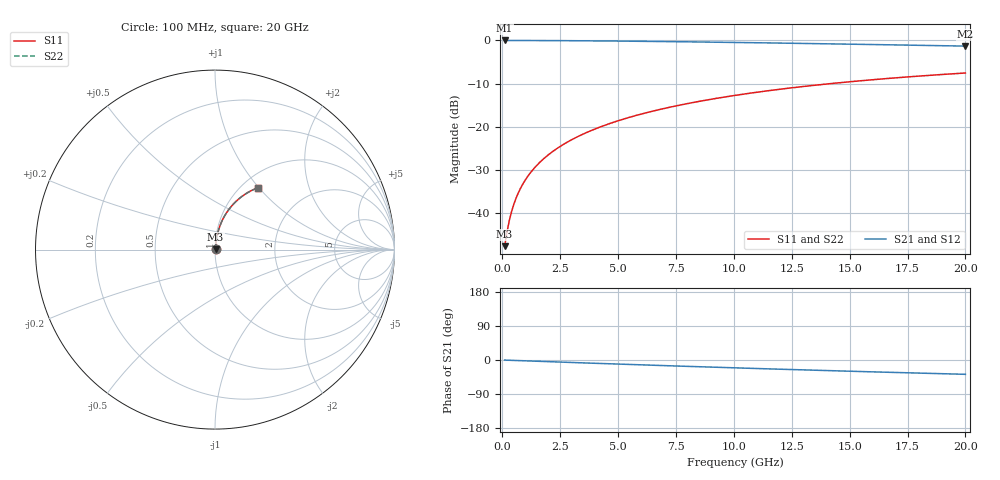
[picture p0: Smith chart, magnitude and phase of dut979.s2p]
! Touchstone file exported from HFSS 2024.1.0
!  File:  C:/UserFiles/LocalFiles/RDL_TSV_Batchsim/temp_RDL_bottom_979_1779943422.aedt
!  Generated:  12:46:18 PM May 28, 2026
!  Design:  RDL_bottom
!  Project:  temp_RDL_bottom_979_1779943422
!  Setup:  Setup1
!  Solution:  Sweep
! Variables:
!  dtsv = 10.80580581um
!  hbump = 3um
!  htsv = 56.14um
!  ldown = 507.92um
!  lrdl = 100um
!  p = 40
!  p1 = 44.38um
!  rhole = 1um
!  t = 450um
!  tdown = 4.34um
!  trdl = 3.915915916um
!  wdown = 12.71um
!  wrdl = 20um
# GHz S MA R 50.000000
! Terminal data exported
! Port[1] = RDL1_T1
! Port[2] = RDL1_T2
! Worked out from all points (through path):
!   200 points, 100 MHz to 20 GHz, reference 50 ohm
!   highest |S21| = -0.03 dB at 100 MHz (marker M1); lowest = -1.3 dB at 20 GHz (marker M2)
!   group delay of S21, straight-line fit = 5.24 ps
!   lowest |S11| = -47.6 dB at 100 MHz (marker M3), VSWR 1.01, Z = 50.3 + j0.247 ohm
!   |S11| at or under -10 dB: start of sweep to 14.21 GHz
!   |S22| runs from -47.6 to -7.6 dB; largest |S21 - S12| = 4.3e-15
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0.1  0.004145 36.4  0.9967 -0.2  0.9967 -0.2  0.004145 36.4
! Gamma 0 0 0 0
! Port Impedance 50 0 50 0
0.2  0.005968 55.3  0.9966 -0.5  0.9966 -0.5  0.005967 55.3
0.3  0.008126 64.6  0.9965 -0.7  0.9965 -0.7  0.008126 64.6
0.4  0.0104 69.7  0.9964 -0.9  0.9964 -0.9  0.0104 69.7
0.5  0.01271 72.9  0.9962 -1.1  0.9962 -1.1  0.01271 72.9
0.6  0.01503 75.0  0.9961 -1.3  0.9961 -1.3  0.01504 75.0
0.8  0.01969 77.6  0.9958 -1.8  0.9958 -1.8  0.01969 77.6
1.1  0.02666 79.7  0.9954 -2.4  0.9954 -2.4  0.02666 79.7
1.5  0.03595 81.0  0.9946 -3.3  0.9946 -3.3  0.03595 81.0
1.8  0.04292 81.5  0.994 -4.0  0.994 -4.0  0.04293 81.5
2.1  0.0499 81.7  0.9932 -4.6  0.9932 -4.6  0.0499 81.7
2.7  0.06385 81.7  0.9913 -5.9  0.9913 -5.9  0.06386 81.7
3.5  0.08245 81.1  0.9882 -7.6  0.9882 -7.6  0.08245 81.1
4.2  0.09869 80.4  0.9849 -9.1  0.9849 -9.1  0.09868 80.3
5  0.1172 79.3  0.9807 -10.8  0.9807 -10.8  0.1172 79.3
5.9  0.1379 78.1  0.9754 -12.6  0.9754 -12.6  0.1378 78.1
6.8  0.1584 76.7  0.9695 -14.4  0.9695 -14.4  0.1584 76.7
8.3  0.1921 74.3  0.9589 -17.4  0.9589 -17.4  0.1921 74.3
10.1  0.2316 71.4  0.945 -20.8  0.945 -20.8  0.2316 71.4
13.4  0.3003 65.9  0.9173 -26.8  0.9173 -26.8  0.3002 65.9
16.7  0.3629 60.5  0.8877 -32.5  0.8877 -32.5  0.3629 60.5
20  0.4187 55.3  0.8574 -37.8  0.8574 -37.8  0.4187 55.3
